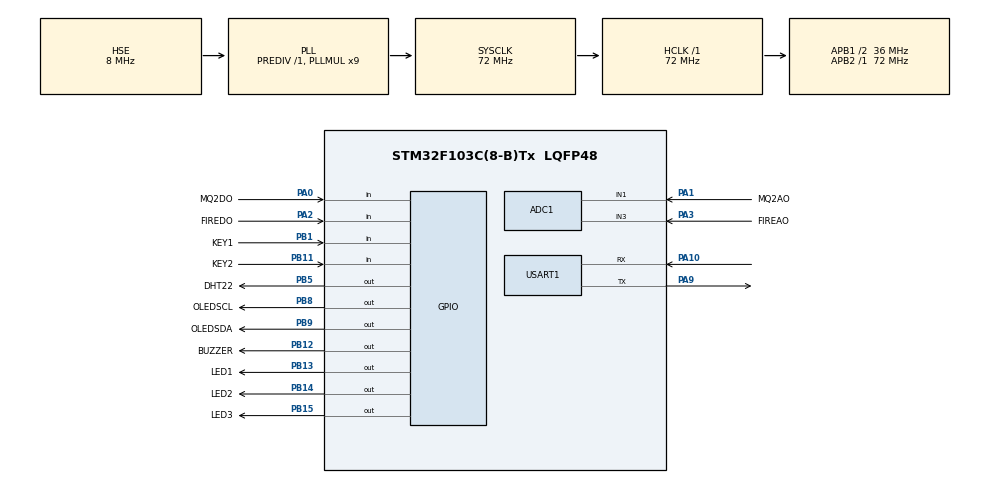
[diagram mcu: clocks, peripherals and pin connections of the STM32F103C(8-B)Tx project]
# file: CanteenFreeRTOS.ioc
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ADC1.Channel-0\#ChannelRegularConversion=ADC_CHANNEL_1
ADC1.NbrOfConversion=1
ADC1.NbrOfConversionFlag=1
ADC1.Rank-0\#ChannelRegularConversion=1
ADC1.SamplingTime-0\#ChannelRegularConversion=ADC_SAMPLETIME_55CYCLES_5
ADC1.master=1
Dma.Request0=USART1_RX
Dma.USART1_RX.0.Direction=DMA_PERIPH_TO_MEMORY
Dma.USART1_RX.0.Instance=DMA1_Channel5
Dma.USART1_RX.0.MemDataAlignment=DMA_MDATAALIGN_BYTE
Dma.USART1_RX.0.MemInc=DMA_MINC_ENABLE
Dma.USART1_RX.0.Mode=DMA_NORMAL
Dma.USART1_RX.0.PeriphDataAlignment=DMA_PDATAALIGN_BYTE
Dma.USART1_RX.0.PeriphInc=DMA_PINC_DISABLE
Dma.USART1_RX.0.Priority=DMA_PRIORITY_MEDIUM
IWDG.Prescaler=IWDG_PRESCALER_32
Mcu.Family=STM32F1
Mcu.Name=STM32F103C(8-B)Tx
Mcu.Package=LQFP48
NVIC.DMA1_Channel5_IRQn=true\:5\:0\:true\:false\:true\:false\:true\:true
NVIC.PriorityGroup=NVIC_PRIORITYGROUP_4
NVIC.TIM4_IRQn=true\:15\:0\:false\:false\:true\:false\:true\:true
NVIC.TimeBase=TIM4_IRQn
NVIC.TimeBaseIP=TIM4
NVIC.USART1_IRQn=true\:5\:0\:true\:false\:true\:true\:true\:true
PA0-WKUP.GPIO_Label=MQ2DO
PA0-WKUP.GPIO_PuPd=GPIO_PULLUP
PA0-WKUP.Signal=GPIO_Input
PA1.GPIO_Label=MQ2AO
PA1.Signal=ADCx_IN1
PA10.GPIO_PuPd=GPIO_NOPULL
PA10.Mode=Asynchronous
PA10.Signal=USART1_RX
PA13.Mode=Serial_Wire
PA13.Signal=SYS_JTMS-SWDIO
PA14.Mode=Serial_Wire
PA14.Signal=SYS_JTCK-SWCLK
PA2.GPIO_Label=FIREDO
PA2.GPIO_PuPd=GPIO_PULLUP
PA2.Signal=GPIO_Input
PA3.GPIO_Label=FIREAO
PA3.Signal=ADCx_IN3
PA9.GPIO_Speed=GPIO_SPEED_FREQ_HIGH
PA9.Mode=Asynchronous
PA9.Signal=USART1_TX
PB1.GPIO_Label=KEY1
PB1.GPIO_PuPd=GPIO_PULLUP
PB1.Signal=GPIO_Input
PB11.GPIO_Label=KEY2
PB11.GPIO_PuPd=GPIO_PULLUP
PB11.Signal=GPIO_Input
PB12.GPIO_Label=BUZZER
PB12.PinState=GPIO_PIN_SET
PB12.Signal=GPIO_Output
PB13.GPIO_Label=LED1
PB13.Signal=GPIO_Output
PB14.GPIO_Label=LED2
PB14.Signal=GPIO_Output
PB15.GPIO_Label=LED3
PB15.Signal=GPIO_Output
PB5.GPIO_Label=DHT22
PB5.GPIO_ModeDefaultOutputPP=GPIO_MODE_OUTPUT_OD
PB5.GPIO_PuPd=GPIO_PULLUP
PB5.PinState=GPIO_PIN_SET
PB5.Signal=GPIO_Output
PB8.GPIO_Label=OLEDSCL
PB8.GPIO_ModeDefaultOutputPP=GPIO_MODE_OUTPUT_OD
PB8.GPIO_PuPd=GPIO_NOPULL
PB8.PinState=GPIO_PIN_SET
PB8.Signal=GPIO_Output
PB9.GPIO_Label=OLEDSDA
PB9.GPIO_ModeDefaultOutputPP=GPIO_MODE_OUTPUT_OD
PB9.GPIO_PuPd=GPIO_NOPULL
PB9.PinState=GPIO_PIN_SET
PB9.Signal=GPIO_Output
PD0-OSC_IN.Mode=HSE-External-Oscillator
PD0-OSC_IN.Signal=RCC_OSC_IN
PD1-OSC_OUT.Mode=HSE-External-Oscillator
PD1-OSC_OUT.Signal=RCC_OSC_OUT
ProjectManager.HeapSize=0x200
ProjectManager.StackSize=0x400
ProjectManager.TargetToolchain=STM32CubeIDE
RCC.ADCPresc=RCC_ADCPCLK2_DIV6
RCC.AHBFreq_Value=72000000
RCC.APB1CLKDivider=RCC_HCLK_DIV2
RCC.APB1Freq_Value=36000000
RCC.APB1TimFreq_Value=72000000
RCC.APB2Freq_Value=72000000
RCC.APB2TimFreq_Value=72000000
RCC.HCLKFreq_Value=72000000
RCC.PLLMUL=RCC_PLL_MUL9
RCC.PLLSourceVirtual=RCC_PLLSOURCE_HSE
RCC.SYSCLKFreq_VALUE=72000000
RCC.SYSCLKSource=RCC_SYSCLKSOURCE_PLLCLK
RCC.USBFreq_Value=72000000
SH.ADCx_IN1.0=ADC1_IN1,IN1
SH.ADCx_IN3.0=ADC1_IN3,IN3
USART1.VirtualMode=VM_ASYNC
VP_IWDG_VS_IWDG.Mode=IWDG_Activate
VP_SYS_VS_tim4.Mode=TIM4
board=custom

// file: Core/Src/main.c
/* USER CODE BEGIN Header */
/**
  ******************************************************************************
  * @file           : main.c
  * @brief          : Main program body
  ******************************************************************************
  * @attention
  *
  * Copyright (c) 2026 STMicroelectronics.
  * All rights reserved.
  *
  * This software is licensed under terms that can be found in the LICENSE file
  * in the root directory of this software component.
  * If no LICENSE file comes with this software, it is provided AS-IS.
  *
  ******************************************************************************
  */
/* USER CODE END Header */
#include "main.h"

/* USER CODE BEGIN Includes */
#include "OLED.h"

#include "Data_App.h"

#include "Key_Task.h"
#include "Sensor_Task.h"
#include "Alarm_Task.h"
#include "Display_Task.h"
#include "UART_Task.h"

/* USER CODE END Includes */

ADC_HandleTypeDef hadc1;

IWDG_HandleTypeDef hiwdg;

UART_HandleTypeDef huart1;
DMA_HandleTypeDef hdma_usart1_rx;

/* USER CODE BEGIN PV */
SemaphoreHandle_t xSemPage; //二进制信号量用于按键翻页
EventGroupHandle_t xEventUpdate;
TimerHandle_t xTimerOffline;
TaskHandle_t xTaskAlarmHandle;

/* USER CODE END PV */

void SystemClock_Config(void);
static void MX_GPIO_Init(void);
static void MX_DMA_Init(void);
static void MX_ADC1_Init(void);
static void MX_USART1_UART_Init(void);
static void MX_IWDG_Init(void);

/* USER CODE BEGIN 0 */
static void vOffline(TimerHandle_t t) {
	MqttData_typedef m;
	Data_GetMqtt(&m);
	if(m.online == 1) {
		m.online = 0;
		Data_SetMqtt(&m);
		xEventGroupSetBits(xEventUpdate, 1<<1); //oled刷新，主要是online
	}
}
/* USER CODE END 0 */

int main(void)
{

  /* MCU Configuration--------------------------------------------------------*/

  /* Reset of all peripherals, Initializes the Flash interface and the Systick. */
  HAL_Init();

  /* Configure the system clock */
  SystemClock_Config();

  /* Initialize all configured peripherals */
  MX_GPIO_Init();
  MX_DMA_Init();
  MX_ADC1_Init();
  MX_USART1_UART_Init();
  MX_IWDG_Init();
  /* USER CODE BEGIN 2 */
  OLED_Init();
  Delay_us_Init();

  Sensor_Init();
  Data_MutexInit();

  xSemPage = xSemaphoreCreateBinary();
  xEventUpdate = xEventGroupCreate();
  xTimerOffline = xTimerCreate("OFF", pdMS_TO_TICKS(40000), pdFALSE, NULL, vOffline);

  xTaskCreate(vKeyTask, "Key", 128, NULL, 1, NULL);
  xTaskCreate(vDisplayTask, "Display", 256, NULL, 2, NULL);
  xTaskCreate(vSensorTask, "Sensor", 256, NULL, 3, NULL);
  xTaskCreate(vUartTask, "UART", 256, NULL, 4, NULL);
  xTaskCreate(vAlarmTask, "Alarm", 128, NULL, 5, &xTaskAlarmHandle);

  vTaskStartScheduler();
  /* USER CODE END 2 */

  /* Infinite loop */
  while (1)
  {

  }
}

void SystemClock_Config(void)
{
  RCC_OscInitTypeDef RCC_OscInitStruct = {0};
  RCC_ClkInitTypeDef RCC_ClkInitStruct = {0};
  RCC_PeriphCLKInitTypeDef PeriphClkInit = {0};

  /** Initializes the RCC Oscillators according to the specified parameters
  * in the RCC_OscInitTypeDef structure.
  */
  RCC_OscInitStruct.OscillatorType = RCC_OSCILLATORTYPE_LSI|RCC_OSCILLATORTYPE_HSE;
  RCC_OscInitStruct.HSEState = RCC_HSE_ON;
  RCC_OscInitStruct.HSEPredivValue = RCC_HSE_PREDIV_DIV1;
  RCC_OscInitStruct.HSIState = RCC_HSI_ON;
  RCC_OscInitStruct.LSIState = RCC_LSI_ON;
  RCC_OscInitStruct.PLL.PLLState = RCC_PLL_ON;
  RCC_OscInitStruct.PLL.PLLSource = RCC_PLLSOURCE_HSE;
  RCC_OscInitStruct.PLL.PLLMUL = RCC_PLL_MUL9;
  if (HAL_RCC_OscConfig(&RCC_OscInitStruct) != HAL_OK)
  {
    Error_Handler();
  }

  /** Initializes the CPU, AHB and APB buses clocks
  */
  RCC_ClkInitStruct.ClockType = RCC_CLOCKTYPE_HCLK|RCC_CLOCKTYPE_SYSCLK
                              |RCC_CLOCKTYPE_PCLK1|RCC_CLOCKTYPE_PCLK2;
  RCC_ClkInitStruct.SYSCLKSource = RCC_SYSCLKSOURCE_PLLCLK;
  RCC_ClkInitStruct.AHBCLKDivider = RCC_SYSCLK_DIV1;
  RCC_ClkInitStruct.APB1CLKDivider = RCC_HCLK_DIV2;
  RCC_ClkInitStruct.APB2CLKDivider = RCC_HCLK_DIV1;

  if (HAL_RCC_ClockConfig(&RCC_ClkInitStruct, FLASH_LATENCY_2) != HAL_OK)
  {
    Error_Handler();
  }
  PeriphClkInit.PeriphClockSelection = RCC_PERIPHCLK_ADC;
  PeriphClkInit.AdcClockSelection = RCC_ADCPCLK2_DIV6;
  if (HAL_RCCEx_PeriphCLKConfig(&PeriphClkInit) != HAL_OK)
  {
    Error_Handler();
  }
}

static void MX_ADC1_Init(void)
{

  ADC_ChannelConfTypeDef sConfig = {0};

  /** Common config
  */
  hadc1.Instance = ADC1;
  hadc1.Init.ScanConvMode = ADC_SCAN_DISABLE;
  hadc1.Init.ContinuousConvMode = DISABLE;
  hadc1.Init.DiscontinuousConvMode = DISABLE;
  hadc1.Init.ExternalTrigConv = ADC_SOFTWARE_START;
  hadc1.Init.DataAlign = ADC_DATAALIGN_RIGHT;
  hadc1.Init.NbrOfConversion = 1;
  if (HAL_ADC_Init(&hadc1) != HAL_OK)
  {
    Error_Handler();
  }

  /** Configure Regular Channel
  */
  sConfig.Channel = ADC_CHANNEL_1;
  sConfig.Rank = ADC_REGULAR_RANK_1;
  sConfig.SamplingTime = ADC_SAMPLETIME_55CYCLES_5;
  if (HAL_ADC_ConfigChannel(&hadc1, &sConfig) != HAL_OK)
  {
    Error_Handler();
  }

}

static void MX_IWDG_Init(void)
{

  hiwdg.Instance = IWDG;
  hiwdg.Init.Prescaler = IWDG_PRESCALER_32;
  hiwdg.Init.Reload = 4095;
  if (HAL_IWDG_Init(&hiwdg) != HAL_OK)
  {
    Error_Handler();
  }

}

static void MX_USART1_UART_Init(void)
{

  huart1.Instance = USART1;
  huart1.Init.BaudRate = 115200;
  huart1.Init.WordLength = UART_WORDLENGTH_8B;
  huart1.Init.StopBits = UART_STOPBITS_1;
  huart1.Init.Parity = UART_PARITY_NONE;
  huart1.Init.Mode = UART_MODE_TX_RX;
  huart1.Init.HwFlowCtl = UART_HWCONTROL_NONE;
  huart1.Init.OverSampling = UART_OVERSAMPLING_16;
  if (HAL_UART_Init(&huart1) != HAL_OK)
  {
    Error_Handler();
  }

}

static void MX_DMA_Init(void)
{

  /* DMA controller clock enable */
  __HAL_RCC_DMA1_CLK_ENABLE();

  /* DMA interrupt init */
  /* DMA1_Channel5_IRQn interrupt configuration */
  HAL_NVIC_SetPriority(DMA1_Channel5_IRQn, 5, 0);
  HAL_NVIC_EnableIRQ(DMA1_Channel5_IRQn);

}

static void MX_GPIO_Init(void)
{
  GPIO_InitTypeDef GPIO_InitStruct = {0};

  /* GPIO Ports Clock Enable */
  __HAL_RCC_GPIOD_CLK_ENABLE();
  __HAL_RCC_GPIOA_CLK_ENABLE();
  __HAL_RCC_GPIOB_CLK_ENABLE();

  /*Configure GPIO pin Output Level */
  HAL_GPIO_WritePin(GPIOB, BUZZER_Pin|DHT22_Pin|OLEDSCL_Pin|OLEDSDA_Pin, GPIO_PIN_SET);

  /*Configure GPIO pin Output Level */
  HAL_GPIO_WritePin(GPIOB, LED1_Pin|LED2_Pin|LED3_Pin, GPIO_PIN_RESET);

  /*Configure GPIO pins : MQ2DO_Pin FIREDO_Pin */
  GPIO_InitStruct.Pin = MQ2DO_Pin|FIREDO_Pin;
  GPIO_InitStruct.Mode = GPIO_MODE_INPUT;
  GPIO_InitStruct.Pull = GPIO_PULLUP;
  HAL_GPIO_Init(GPIOA, &GPIO_InitStruct);

  /*Configure GPIO pins : KEY1_Pin KEY2_Pin */
  GPIO_InitStruct.Pin = KEY1_Pin|KEY2_Pin;
  GPIO_InitStruct.Mode = GPIO_MODE_INPUT;
  GPIO_InitStruct.Pull = GPIO_PULLUP;
  HAL_GPIO_Init(GPIOB, &GPIO_InitStruct);

  /*Configure GPIO pins : BUZZER_Pin LED1_Pin LED2_Pin LED3_Pin */
  GPIO_InitStruct.Pin = BUZZER_Pin|LED1_Pin|LED2_Pin|LED3_Pin;
  GPIO_InitStruct.Mode = GPIO_MODE_OUTPUT_PP;
  GPIO_InitStruct.Pull = GPIO_NOPULL;
  GPIO_InitStruct.Speed = GPIO_SPEED_FREQ_LOW;
  HAL_GPIO_Init(GPIOB, &GPIO_InitStruct);

  /*Configure GPIO pin : DHT22_Pin */
  GPIO_InitStruct.Pin = DHT22_Pin;
  GPIO_InitStruct.Mode = GPIO_MODE_OUTPUT_OD;
  GPIO_InitStruct.Pull = GPIO_PULLUP;
  GPIO_InitStruct.Speed = GPIO_SPEED_FREQ_LOW;
  HAL_GPIO_Init(DHT22_GPIO_Port, &GPIO_InitStruct);

  /*Configure GPIO pins : OLEDSCL_Pin OLEDSDA_Pin */
  GPIO_InitStruct.Pin = OLEDSCL_Pin|OLEDSDA_Pin;
  GPIO_InitStruct.Mode = GPIO_MODE_OUTPUT_OD;
  GPIO_InitStruct.Pull = GPIO_NOPULL;
  GPIO_InitStruct.Speed = GPIO_SPEED_FREQ_LOW;
  HAL_GPIO_Init(GPIOB, &GPIO_InitStruct);

}

void HAL_TIM_PeriodElapsedCallback(TIM_HandleTypeDef *htim)
{
  if (htim->Instance == TIM4)
  {
    HAL_IncTick();
  }
}

void Error_Handler(void)
{
  __disable_irq();
  while (1)
  {
  }
}
